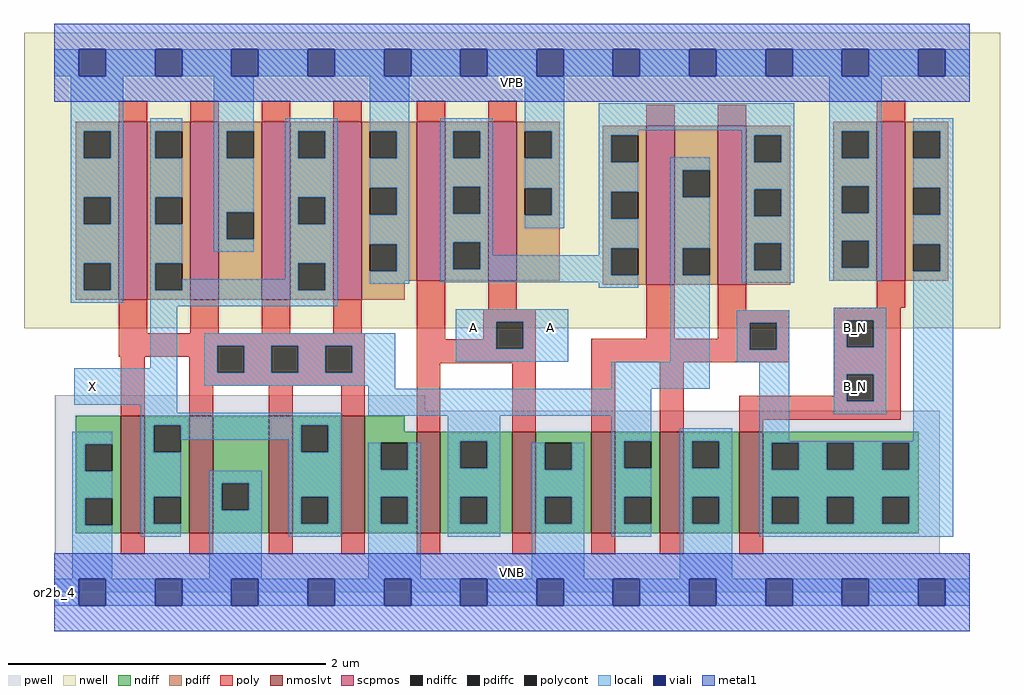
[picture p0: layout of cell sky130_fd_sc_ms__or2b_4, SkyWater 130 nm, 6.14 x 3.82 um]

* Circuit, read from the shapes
.subckt sky130_fd_sc_ms__or2b_4 A B_N VGND VNB VPB VPWR X
XM1 X n1 VGND VNB sky130_fd_pr__nfet_01v8_lvt w=0.74 l=0.15 m=4
XM2 n1 A VGND VNB sky130_fd_pr__nfet_01v8_lvt w=0.64 l=0.15 m=2
XM3 n1 n2 VGND VNB sky130_fd_pr__nfet_01v8_lvt w=0.64 l=0.15 m=2
XM4 n2 B_N VGND VNB sky130_fd_pr__nfet_01v8_lvt w=0.64 l=0.15
XM5 X n1 VPWR VPB sky130_fd_pr__pfet_01v8 w=1.12 l=0.18 m=4
XM6 n3 A VPWR VPB sky130_fd_pr__pfet_01v8 w=1 l=0.18 m=2
XM7 n1 n2 n3 VPB sky130_fd_pr__pfet_01v8 w=1 l=0.18 m=2
XM8 n2 B_N VPWR VPB sky130_fd_pr__pfet_01v8 w=1 l=0.18
.ends

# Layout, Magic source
magic
tech sky130A
magscale 1 2
<< nwell >>
rect -38 332 1190 704
<< pwell >>
rect 1 228 467 248
rect 1 49 1114 228
rect 0 0 1152 49
<< scpmos >>
rect 81 368 117 592
rect 171 368 207 592
rect 261 368 297 592
rect 351 368 387 592
rect 456 392 492 592
rect 546 392 582 592
rect 745 387 781 587
rect 835 387 871 587
rect 1035 392 1071 592
<< nmoslvt >>
rect 84 74 114 222
rect 170 74 200 222
rect 270 74 300 222
rect 361 74 391 222
rect 456 74 486 202
rect 576 74 606 202
rect 676 74 706 202
rect 762 74 792 202
rect 862 74 892 202
<< ndiff >>
rect 27 186 84 222
rect 27 152 39 186
rect 73 152 84 186
rect 27 118 84 152
rect 27 84 39 118
rect 73 84 84 118
rect 27 74 84 84
rect 114 210 170 222
rect 114 176 125 210
rect 159 176 170 210
rect 114 120 170 176
rect 114 86 125 120
rect 159 86 170 120
rect 114 74 170 86
rect 200 137 270 222
rect 200 103 211 137
rect 245 103 270 137
rect 200 74 270 103
rect 300 210 361 222
rect 300 176 311 210
rect 345 176 361 210
rect 300 120 361 176
rect 300 86 311 120
rect 345 86 361 120
rect 300 74 361 86
rect 391 202 441 222
rect 391 188 456 202
rect 391 154 411 188
rect 445 154 456 188
rect 391 120 456 154
rect 391 86 411 120
rect 445 86 456 120
rect 391 74 456 86
rect 486 190 576 202
rect 486 156 511 190
rect 545 156 576 190
rect 486 120 576 156
rect 486 86 511 120
rect 545 86 576 120
rect 486 74 576 86
rect 606 188 676 202
rect 606 154 617 188
rect 651 154 676 188
rect 606 120 676 154
rect 606 86 617 120
rect 651 86 676 120
rect 606 74 676 86
rect 706 190 762 202
rect 706 156 717 190
rect 751 156 762 190
rect 706 120 762 156
rect 706 86 717 120
rect 751 86 762 120
rect 706 74 762 86
rect 792 190 862 202
rect 792 156 803 190
rect 837 156 862 190
rect 792 120 862 156
rect 792 86 803 120
rect 837 86 862 120
rect 792 74 862 86
rect 892 188 1088 202
rect 892 154 903 188
rect 937 154 972 188
rect 1006 154 1042 188
rect 1076 154 1088 188
rect 892 120 1088 154
rect 892 86 903 120
rect 937 86 972 120
rect 1006 86 1042 120
rect 1076 86 1088 120
rect 892 74 1088 86
<< pdiff >>
rect 27 580 81 592
rect 27 546 37 580
rect 71 546 81 580
rect 27 497 81 546
rect 27 463 37 497
rect 71 463 81 497
rect 27 414 81 463
rect 27 380 37 414
rect 71 380 81 414
rect 27 368 81 380
rect 117 580 171 592
rect 117 546 127 580
rect 161 546 171 580
rect 117 497 171 546
rect 117 463 127 497
rect 161 463 171 497
rect 117 414 171 463
rect 117 380 127 414
rect 161 380 171 414
rect 117 368 171 380
rect 207 580 261 592
rect 207 546 217 580
rect 251 546 261 580
rect 207 478 261 546
rect 207 444 217 478
rect 251 444 261 478
rect 207 368 261 444
rect 297 580 351 592
rect 297 546 307 580
rect 341 546 351 580
rect 297 497 351 546
rect 297 463 307 497
rect 341 463 351 497
rect 297 414 351 463
rect 297 380 307 414
rect 341 380 351 414
rect 297 368 351 380
rect 387 580 456 592
rect 387 546 397 580
rect 431 546 456 580
rect 387 509 456 546
rect 387 475 397 509
rect 431 475 456 509
rect 387 438 456 475
rect 387 404 397 438
rect 431 404 456 438
rect 387 392 456 404
rect 492 580 546 592
rect 492 546 502 580
rect 536 546 546 580
rect 492 510 546 546
rect 492 476 502 510
rect 536 476 546 510
rect 492 440 546 476
rect 492 406 502 440
rect 536 406 546 440
rect 492 392 546 406
rect 582 580 636 592
rect 582 546 592 580
rect 626 546 636 580
rect 582 508 636 546
rect 582 474 592 508
rect 626 474 636 508
rect 582 392 636 474
rect 690 575 745 587
rect 690 541 701 575
rect 735 541 745 575
rect 690 504 745 541
rect 690 470 701 504
rect 735 470 745 504
rect 690 433 745 470
rect 690 399 701 433
rect 735 399 745 433
rect 387 368 441 392
rect 690 387 745 399
rect 781 531 835 587
rect 781 497 791 531
rect 825 497 835 531
rect 781 433 835 497
rect 781 399 791 433
rect 825 399 835 433
rect 781 387 835 399
rect 871 575 926 587
rect 871 541 881 575
rect 915 541 926 575
rect 871 507 926 541
rect 871 473 881 507
rect 915 473 926 507
rect 871 439 926 473
rect 871 405 881 439
rect 915 405 926 439
rect 871 387 926 405
rect 980 580 1035 592
rect 980 546 991 580
rect 1025 546 1035 580
rect 980 511 1035 546
rect 980 477 991 511
rect 1025 477 1035 511
rect 980 442 1035 477
rect 980 408 991 442
rect 1025 408 1035 442
rect 980 392 1035 408
rect 1071 580 1125 592
rect 1071 546 1081 580
rect 1115 546 1125 580
rect 1071 509 1125 546
rect 1071 475 1081 509
rect 1115 475 1125 509
rect 1071 438 1125 475
rect 1071 404 1081 438
rect 1115 404 1125 438
rect 1071 392 1125 404
<< ndiffc >>
rect 39 152 73 186
rect 39 84 73 118
rect 125 176 159 210
rect 125 86 159 120
rect 211 103 245 137
rect 311 176 345 210
rect 311 86 345 120
rect 411 154 445 188
rect 411 86 445 120
rect 511 156 545 190
rect 511 86 545 120
rect 617 154 651 188
rect 617 86 651 120
rect 717 156 751 190
rect 717 86 751 120
rect 803 156 837 190
rect 803 86 837 120
rect 903 154 937 188
rect 972 154 1006 188
rect 1042 154 1076 188
rect 903 86 937 120
rect 972 86 1006 120
rect 1042 86 1076 120
<< pdiffc >>
rect 37 546 71 580
rect 37 463 71 497
rect 37 380 71 414
rect 127 546 161 580
rect 127 463 161 497
rect 127 380 161 414
rect 217 546 251 580
rect 217 444 251 478
rect 307 546 341 580
rect 307 463 341 497
rect 307 380 341 414
rect 397 546 431 580
rect 397 475 431 509
rect 397 404 431 438
rect 502 546 536 580
rect 502 476 536 510
rect 502 406 536 440
rect 592 546 626 580
rect 592 474 626 508
rect 701 541 735 575
rect 701 470 735 504
rect 701 399 735 433
rect 791 497 825 531
rect 791 399 825 433
rect 881 541 915 575
rect 881 473 915 507
rect 881 405 915 439
rect 991 546 1025 580
rect 991 477 1025 511
rect 991 408 1025 442
rect 1081 546 1115 580
rect 1081 475 1115 509
rect 1081 404 1115 438
<< poly >>
rect 81 592 117 618
rect 171 592 207 618
rect 261 592 297 618
rect 351 592 387 618
rect 456 592 492 618
rect 546 592 582 618
rect 745 587 781 613
rect 835 587 871 613
rect 1035 592 1071 618
rect 81 326 117 368
rect 171 326 207 368
rect 261 326 297 368
rect 351 326 387 368
rect 81 310 391 326
rect 81 296 205 310
rect 84 222 114 296
rect 170 276 205 296
rect 239 276 273 310
rect 307 276 341 310
rect 375 276 391 310
rect 170 260 391 276
rect 170 222 200 260
rect 270 222 300 260
rect 361 222 391 260
rect 456 318 492 392
rect 546 356 582 392
rect 540 340 606 356
rect 540 318 556 340
rect 456 306 556 318
rect 590 306 606 340
rect 745 319 781 387
rect 835 355 871 387
rect 1035 358 1071 392
rect 835 339 925 355
rect 835 319 875 339
rect 456 288 606 306
rect 456 202 486 288
rect 576 202 606 288
rect 676 305 875 319
rect 909 305 925 339
rect 676 289 925 305
rect 981 342 1065 358
rect 981 308 997 342
rect 1031 308 1065 342
rect 676 202 706 289
rect 762 202 792 289
rect 981 274 1065 308
rect 981 247 997 274
rect 862 240 997 247
rect 1031 240 1065 274
rect 862 217 1065 240
rect 862 202 892 217
rect 84 48 114 74
rect 170 48 200 74
rect 270 48 300 74
rect 361 48 391 74
rect 456 48 486 74
rect 576 48 606 74
rect 676 48 706 74
rect 762 48 792 74
rect 862 48 892 74
<< polycont >>
rect 205 276 239 310
rect 273 276 307 310
rect 341 276 375 310
rect 556 306 590 340
rect 875 305 909 339
rect 997 308 1031 342
rect 997 240 1031 274
<< locali >>
rect 0 649 31 683
rect 65 649 127 683
rect 161 649 223 683
rect 257 649 319 683
rect 353 649 415 683
rect 449 649 511 683
rect 545 649 607 683
rect 641 649 703 683
rect 737 649 799 683
rect 833 649 895 683
rect 929 649 991 683
rect 1025 649 1087 683
rect 1121 649 1152 683
rect 21 580 87 649
rect 21 546 37 580
rect 71 546 87 580
rect 21 497 87 546
rect 21 463 37 497
rect 71 463 87 497
rect 21 414 87 463
rect 21 380 37 414
rect 71 380 87 414
rect 21 364 87 380
rect 121 580 161 596
rect 121 546 127 580
rect 121 497 161 546
rect 121 463 127 497
rect 121 414 161 463
rect 201 580 251 649
rect 201 546 217 580
rect 201 478 251 546
rect 201 444 217 478
rect 201 428 251 444
rect 291 580 357 596
rect 291 546 307 580
rect 341 546 357 580
rect 291 497 357 546
rect 291 463 307 497
rect 341 463 357 497
rect 121 380 127 414
rect 291 414 357 463
rect 291 394 307 414
rect 161 380 307 394
rect 341 380 357 414
rect 397 580 447 649
rect 431 546 447 580
rect 397 509 447 546
rect 431 475 447 509
rect 397 438 447 475
rect 431 404 447 438
rect 397 388 447 404
rect 486 580 552 596
rect 486 546 502 580
rect 536 546 552 580
rect 486 510 552 546
rect 486 476 502 510
rect 536 476 552 510
rect 486 440 552 476
rect 592 580 642 649
rect 626 546 642 580
rect 592 508 642 546
rect 626 474 642 508
rect 592 458 642 474
rect 685 581 931 615
rect 685 575 735 581
rect 685 541 701 575
rect 865 575 931 581
rect 685 504 735 541
rect 685 470 701 504
rect 486 406 502 440
rect 536 424 552 440
rect 685 433 735 470
rect 685 424 701 433
rect 536 406 701 424
rect 486 399 701 406
rect 486 390 735 399
rect 685 383 735 390
rect 775 531 825 547
rect 775 497 791 531
rect 775 433 825 497
rect 775 399 791 433
rect 121 360 357 380
rect 121 282 155 360
rect 505 340 647 356
rect 25 236 155 282
rect 189 310 429 326
rect 189 276 205 310
rect 239 276 273 310
rect 307 276 341 310
rect 375 276 429 310
rect 505 306 556 340
rect 590 306 647 340
rect 505 290 647 306
rect 775 290 825 399
rect 865 541 881 575
rect 915 541 931 575
rect 865 507 931 541
rect 865 473 881 507
rect 915 473 931 507
rect 865 439 931 473
rect 865 405 881 439
rect 915 405 931 439
rect 865 389 931 405
rect 975 580 1041 649
rect 975 546 991 580
rect 1025 546 1041 580
rect 975 511 1041 546
rect 975 477 991 511
rect 1025 477 1041 511
rect 975 442 1041 477
rect 975 408 991 442
rect 1025 408 1041 442
rect 975 392 1041 408
rect 1081 580 1131 596
rect 1115 546 1131 580
rect 1081 509 1131 546
rect 1115 475 1131 509
rect 1081 438 1131 475
rect 1115 404 1131 438
rect 189 260 429 276
rect 109 226 155 236
rect 395 256 429 260
rect 701 256 825 290
rect 859 339 925 355
rect 859 305 875 339
rect 909 305 925 339
rect 859 289 925 305
rect 109 210 361 226
rect 395 222 751 256
rect 23 186 73 202
rect 23 152 39 186
rect 23 118 73 152
rect 23 84 39 118
rect 23 17 73 84
rect 109 176 125 210
rect 159 192 311 210
rect 109 120 159 176
rect 295 176 311 192
rect 345 176 361 210
rect 495 190 561 222
rect 109 86 125 120
rect 109 70 159 86
rect 195 137 261 153
rect 195 103 211 137
rect 245 103 261 137
rect 195 17 261 103
rect 295 120 361 176
rect 295 86 311 120
rect 345 86 361 120
rect 295 70 361 86
rect 395 154 411 188
rect 445 154 461 188
rect 395 120 461 154
rect 395 86 411 120
rect 445 86 461 120
rect 395 17 461 86
rect 495 156 511 190
rect 545 156 561 190
rect 701 190 751 222
rect 495 120 561 156
rect 495 86 511 120
rect 545 86 561 120
rect 495 70 561 86
rect 601 154 617 188
rect 651 154 667 188
rect 601 120 667 154
rect 601 86 617 120
rect 651 86 667 120
rect 601 17 667 86
rect 701 156 717 190
rect 701 120 751 156
rect 701 86 717 120
rect 701 70 751 86
rect 787 190 853 206
rect 787 156 803 190
rect 837 156 853 190
rect 787 120 853 156
rect 787 86 803 120
rect 837 86 853 120
rect 787 17 853 86
rect 887 190 925 289
rect 981 342 1047 358
rect 981 308 997 342
rect 1031 308 1047 342
rect 981 274 1047 308
rect 981 240 997 274
rect 1031 240 1047 274
rect 981 224 1047 240
rect 1081 190 1131 404
rect 887 188 1131 190
rect 887 154 903 188
rect 937 154 972 188
rect 1006 154 1042 188
rect 1076 154 1131 188
rect 887 120 1131 154
rect 887 86 903 120
rect 937 86 972 120
rect 1006 86 1042 120
rect 1076 86 1131 120
rect 887 70 1131 86
rect 0 -17 31 17
rect 65 -17 127 17
rect 161 -17 223 17
rect 257 -17 319 17
rect 353 -17 415 17
rect 449 -17 511 17
rect 545 -17 607 17
rect 641 -17 703 17
rect 737 -17 799 17
rect 833 -17 895 17
rect 929 -17 991 17
rect 1025 -17 1087 17
rect 1121 -17 1152 17
<< viali >>
rect 31 649 65 683
rect 127 649 161 683
rect 223 649 257 683
rect 319 649 353 683
rect 415 649 449 683
rect 511 649 545 683
rect 607 649 641 683
rect 703 649 737 683
rect 799 649 833 683
rect 895 649 929 683
rect 991 649 1025 683
rect 1087 649 1121 683
rect 31 -17 65 17
rect 127 -17 161 17
rect 223 -17 257 17
rect 319 -17 353 17
rect 415 -17 449 17
rect 511 -17 545 17
rect 607 -17 641 17
rect 703 -17 737 17
rect 799 -17 833 17
rect 895 -17 929 17
rect 991 -17 1025 17
rect 1087 -17 1121 17
<< metal1 >>
rect 0 683 1152 715
rect 0 649 31 683
rect 65 649 127 683
rect 161 649 223 683
rect 257 649 319 683
rect 353 649 415 683
rect 449 649 511 683
rect 545 649 607 683
rect 641 649 703 683
rect 737 649 799 683
rect 833 649 895 683
rect 929 649 991 683
rect 1025 649 1087 683
rect 1121 649 1152 683
rect 0 617 1152 649
rect 0 17 1152 49
rect 0 -17 31 17
rect 65 -17 127 17
rect 161 -17 223 17
rect 257 -17 319 17
rect 353 -17 415 17
rect 449 -17 511 17
rect 545 -17 607 17
rect 641 -17 703 17
rect 737 -17 799 17
rect 833 -17 895 17
rect 929 -17 991 17
rect 1025 -17 1087 17
rect 1121 -17 1152 17
rect 0 -49 1152 -17
<< labels >>
flabel pwell s 0 0 1152 49 0 FreeSans 200 0 0 0 VNB
port 4 nsew ground bidirectional
flabel nwell s 0 617 1152 666 0 FreeSans 200 0 0 0 VPB
port 5 nsew power bidirectional
rlabel comment s 0 0 0 0 4 or2b_4
flabel metal1 s 0 617 1152 666 0 FreeSans 340 0 0 0 VPWR
port 6 nsew power bidirectional
flabel metal1 s 0 0 1152 49 0 FreeSans 340 0 0 0 VGND
port 3 nsew ground bidirectional
flabel locali s 511 316 545 350 0 FreeSans 340 0 0 0 A
port 1 nsew signal input
flabel locali s 607 316 641 350 0 FreeSans 340 0 0 0 A
port 1 nsew signal input
flabel locali s 991 242 1025 276 0 FreeSans 340 0 0 0 B_N
port 2 nsew signal input
flabel locali s 991 316 1025 350 0 FreeSans 340 0 0 0 B_N
port 2 nsew signal input
flabel locali s 31 242 65 276 0 FreeSans 340 0 0 0 X
port 7 nsew signal output
<< properties >>
string LEFsite unit
string LEFclass CORE
string FIXED_BBOX 0 0 1152 666
string GDS_FILE $PDKPATH/libs.ref/sky130_fd_sc_ms/gds/sky130_fd_sc_ms.gds
string LEFsymmetry X Y
string GDS_END 1434756
string GDS_START 1424862
<< end >>
